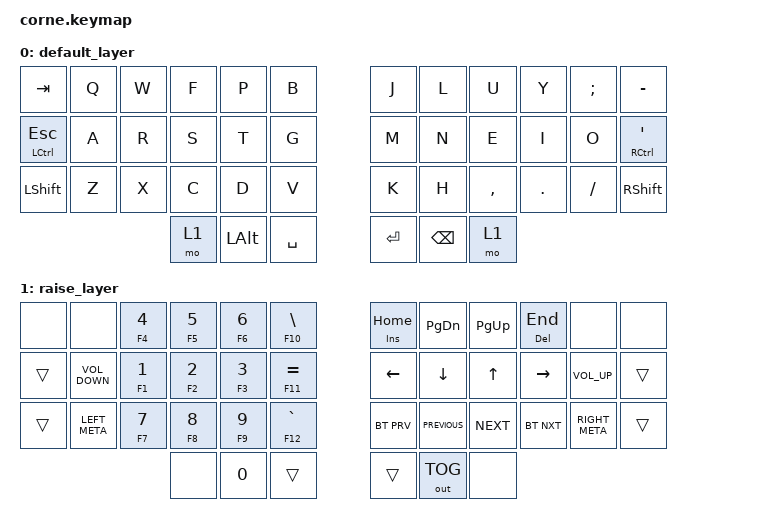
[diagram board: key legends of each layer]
/*
 * Copyright (c) 2020 The ZMK Contributors
 *
 * SPDX-License-Identifier: MIT
 */

#include <behaviors.dtsi>
#include <dt-bindings/zmk/bt.h>
#include <dt-bindings/zmk/keys.h>
#include <dt-bindings/zmk/outputs.h>

/ {
    behaviors {
        bhm_l: balanced_homerow_mods_l {
            compatible = "zmk,behavior-hold-tap";
            flavor = "balanced";
            tapping-term-ms = <300>;
            #binding-cells = <2>;
            quick-tap-ms = <175>;                // repeat on tap-into-hold
            require-prior-idle-ms = <150>;
            bindings = <&kp>, <&kp>;

            hold-trigger-on-release;             // delay positional check until key-release
            hold-trigger-key-positions = <13 14 15 16>;
        };

        cw: cw {
            compatible = "zmk,behavior-caps-word";
            label = "CW";
            #binding-cells = <0>;
            continue-list = <UNDERSCORE BACKSPACE>;
        };

        bht: bht {
            compatible = "zmk,behavior-hold-tap";
            flavor = "balanced";
            tapping-term-ms = <300>;
            #binding-cells = <2>;
            quick-tap-ms = <175>;
            require-prior-idle-ms = <150>;
            bindings = <&kp>, <&kp>;

            hold-trigger-on-release;
            hold-trigger-key-positions = <14 15 16 2 3 4 5 17 29 28 27 26>;
            label = "BHT";
        };

        bhm_r: balanced_homerow_mods_r {
            compatible = "zmk,behavior-hold-tap";
            flavor = "balanced";
            tapping-term-ms = <300>;
            #binding-cells = <2>;
            quick-tap-ms = <175>;
            require-prior-idle-ms = <150>;
            bindings = <&kp>, <&kp>;

            hold-trigger-on-release;
            hold-trigger-key-positions = <19 20 21 22>;
        };
    };

    combos {
        compatible = "zmk,combos";

        cw {
            bindings = <&cw>;
            key-positions = <24 35>;
            layers = <0>;
        };

        left_brace {
            bindings = <&kp LEFT_BRACKET>;
            key-positions = <3 4>;
            layers = <0>;
        };

        right_brace {
            bindings = <&kp RIGHT_BRACKET>;
            key-positions = <7 8>;
            layers = <0>;
        };

        left_paren {
            bindings = <&kp LEFT_PARENTHESIS>;
            key-positions = <2 3>;
            layers = <0>;
        };

        right_paren {
            bindings = <&kp RIGHT_PARENTHESIS>;
            key-positions = <8 9>;
            layers = <0>;
        };

        print {
            bindings = <&kp PRINTSCREEN>;
            key-positions = <17 18>;
            layers = <0>;
        };

        bt_clear {
            bindings = <&bt BT_CLR>;
            key-positions = <30 33>;
            layers = <1>;
        };

        play_pause {
            bindings = <&kp K_PLAY_PAUSE>;
            key-positions = <32 31>;
            layers = <1>;
        };

        mute {
            bindings = <&kp K_MUTE>;
            key-positions = <13 22>;
            layers = <1>;
        };
    };

    keymap {
        compatible = "zmk,keymap";

        default_layer {
            bindings = <
&kp TAB           &kp Q  &kp W  &kp F  &kp P     &kp B        &kp J      &kp L          &kp U      &kp Y    &kp SEMI  &kp MINUS
&mt LCTRL ESCAPE  &kp A  &kp R  &kp S  &kp T     &kp G        &kp M      &kp N          &kp E      &kp I    &kp O     &mt RCTRL APOS
&kp LSHFT         &kp Z  &kp X  &kp C  &kp D     &kp V        &kp K      &kp H          &kp COMMA  &kp DOT  &kp FSLH  &kp RSHFT
                                &mo 1  &kp LALT  &kp SPACE    &kp ENTER  &kp BACKSPACE  &mo 1
            >;
        };

        raise_layer {
            bindings = <
&none   &none              &bht F4 NUMBER_4  &bht F5 NUMBER_5  &bht F6 NUMBER_6  &bht F10 BACKSLASH    &mt INSERT HOME  &kp PAGE_DOWN   &kp PAGE_UP  &mt DELETE END  &none            &none
&trans  &kp C_VOLUME_DOWN  &bht F1 NUMBER_1  &bht F2 NUMBER_2  &bht F3 NUMBER_3  &bht F11 EQUAL        &kp LEFT         &kp DOWN        &kp UP       &kp RIGHT       &kp C_VOLUME_UP  &trans
&trans  &kp LEFT_META      &bht F7 NUMBER_7  &bht F8 NUMBER_8  &bht F9 NUMBER_9  &bht F12 GRAVE        &bt BT_PRV       &kp C_PREVIOUS  &kp C_NEXT   &bt BT_NXT      &kp RIGHT_META   &trans
                                             &none             &kp N0            &trans                &trans           &out OUT_TOG    &none
            >;
        };
    };
};
